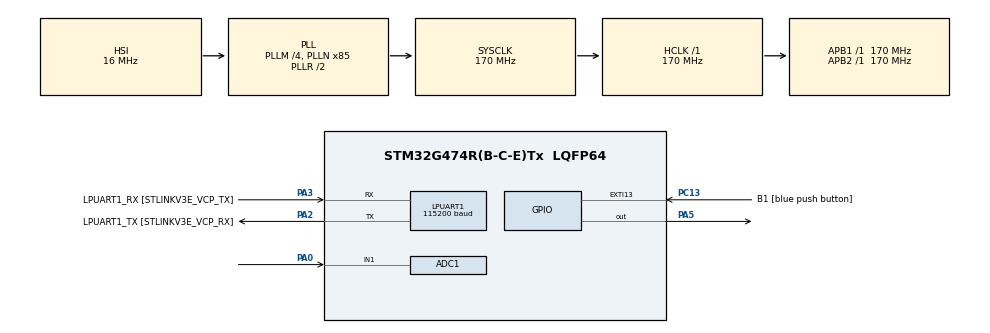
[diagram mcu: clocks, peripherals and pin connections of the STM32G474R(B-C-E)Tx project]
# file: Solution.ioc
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ADC1.Channel-1\#ChannelRegularConversion=ADC_CHANNEL_1
ADC1.NbrOfConversionFlag=1
ADC1.OffsetNumber-1\#ChannelRegularConversion=ADC_OFFSET_NONE
ADC1.Rank-1\#ChannelRegularConversion=1
ADC1.SamplingTime-1\#ChannelRegularConversion=ADC_SAMPLETIME_2CYCLES_5
ADC1.master=1
LPUART1.BaudRate=115200
LPUART1.WordLength=UART_WORDLENGTH_8B
Mcu.Family=STM32G4
Mcu.Name=STM32G474R(B-C-E)Tx
Mcu.Package=LQFP64
NVIC.EXTI15_10_IRQn=true\:0\:0\:false\:false\:true\:true\:true\:true
NVIC.PriorityGroup=NVIC_PRIORITYGROUP_4
NVIC.TIM2_IRQn=true\:0\:0\:false\:false\:true\:true\:true\:true
PA0.Mode=IN1-Single-Ended
PA0.Signal=ADC1_IN1
PA13.GPIO_Label=T_SWDIO
PA13.Mode=Serial_Wire
PA13.Signal=SYS_JTMS-SWDIO
PA14.GPIO_Label=T_SWCLK
PA14.Mode=Serial_Wire
PA14.Signal=SYS_JTCK-SWCLK
PA2.GPIO_Label=LPUART1_TX [STLINKV3E_VCP_RX]
PA2.Mode=Asynchronous
PA2.Signal=LPUART1_TX
PA3.GPIO_Label=LPUART1_RX [STLINKV3E_VCP_TX]
PA3.Mode=Asynchronous
PA3.Signal=LPUART1_RX
PA5.Signal=GPIO_Output
PB3.GPIO_Label=T_SWO
PB3.Signal=SYS_JTDO-SWO
PC13.GPIO_Label=B1 [blue push button]
PC13.Signal=GPXTI13
PC14-OSC32_IN.Mode=LSE-External-Oscillator
PC14-OSC32_IN.Signal=RCC_OSC32_IN
PC15-OSC32_OUT.Mode=LSE-External-Oscillator
PC15-OSC32_OUT.Signal=RCC_OSC32_OUT
PF0-OSC_IN.Mode=HSE-External-Oscillator
PF0-OSC_IN.Signal=RCC_OSC_IN
PF1-OSC_OUT.Mode=HSE-External-Oscillator
PF1-OSC_OUT.Signal=RCC_OSC_OUT
ProjectManager.HeapSize=0x200
ProjectManager.StackSize=0x400
ProjectManager.TargetToolchain=Makefile
RCC.ADC12Freq_Value=170000000
RCC.ADC345Freq_Value=170000000
RCC.AHBFreq_Value=170000000
RCC.APB1Freq_Value=170000000
RCC.APB1TimFreq_Value=170000000
RCC.APB2Freq_Value=170000000
RCC.APB2TimFreq_Value=170000000
RCC.CortexFreq_Value=170000000
RCC.EXTERNAL_CLOCK_VALUE=12288000
RCC.HCLKFreq_Value=170000000
RCC.HSE_VALUE=24000000
RCC.HSI48_VALUE=48000000
RCC.HSI_VALUE=16000000
RCC.PLLM=RCC_PLLM_DIV4
RCC.PLLN=85
RCC.RTCClockSelection=RCC_RTCCLKSOURCE_LSE
RCC.SYSCLKFreq_VALUE=170000000
RCC.SYSCLKSource=RCC_SYSCLKSOURCE_PLLCLK
RCC.USBFreq_Value=170000000
RCC.VCOOutputFreq_Value=340000000
TIM2.PeriodNoDither=200000
TIM2.Prescaler=170 - 1
VP_SYS_VS_DBSignals.Mode=DisableDeadBatterySignals
VP_TIM2_VS_ClockSourceINT.Mode=Internal
board=NUCLEO-G474RE

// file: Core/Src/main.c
/* USER CODE BEGIN Header */
/**
  ******************************************************************************
  * @file           : main.c
  * @brief          : Main program body
  ******************************************************************************
  * @attention
  *
  * Copyright (c) 2023 STMicroelectronics.
  * All rights reserved.
  *
  * This software is licensed under terms that can be found in the LICENSE file
  * in the root directory of this software component.
  * If no LICENSE file comes with this software, it is provided AS-IS.
  *
  ******************************************************************************
  */
/* USER CODE END Header */
#include "main.h"
#include "adc.h"
#include "usart.h"
#include "tim.h"
#include "gpio.h"

/* USER CODE BEGIN Includes */
#include <stdio.h>
#include <math.h>
#include <string.h>
/* USER CODE END Includes */

/* USER CODE BEGIN PV */
FlagStatus periodElapsed = RESET;
/* USER CODE END PV */

void SystemClock_Config(void);
/* USER CODE BEGIN PFP */
void convert_ms_to_hhmmssms(uint32_t* ms, uint32_t* hours, uint32_t* minutes, uint32_t* seconds);
void get_timestamp(char* timestamp);
void elapsed_tim2_callback(TIM_HandleTypeDef *htim);
/* USER CODE END PFP */

int main(void)
{

  /* MCU Configuration--------------------------------------------------------*/

  /* Reset of all peripherals, Initializes the Flash interface and the Systick. */
  HAL_Init();

  /* Configure the system clock */
  SystemClock_Config();

  /* Initialize all configured peripherals */
  MX_GPIO_Init();
  MX_LPUART1_UART_Init();
  MX_ADC1_Init();
  MX_TIM2_Init();
  /* USER CODE BEGIN 2 */
  HAL_ADCEx_Calibration_Start(&hadc1, ADC_SINGLE_ENDED);
  HAL_TIM_RegisterCallback(&htim2, HAL_TIM_PERIOD_ELAPSED_CB_ID, elapsed_tim2_callback);
  HAL_TIM_Base_Start_IT(&htim2);
  /* USER CODE END 2 */

  /* Infinite loop */
  while (1)
  {

  }
}

void SystemClock_Config(void)
{
  RCC_OscInitTypeDef RCC_OscInitStruct = {0};
  RCC_ClkInitTypeDef RCC_ClkInitStruct = {0};

  /** Configure the main internal regulator output voltage
  */
  HAL_PWREx_ControlVoltageScaling(PWR_REGULATOR_VOLTAGE_SCALE1_BOOST);

  /** Initializes the RCC Oscillators according to the specified parameters
  * in the RCC_OscInitTypeDef structure.
  */
  RCC_OscInitStruct.OscillatorType = RCC_OSCILLATORTYPE_HSI;
  RCC_OscInitStruct.HSIState = RCC_HSI_ON;
  RCC_OscInitStruct.HSICalibrationValue = RCC_HSICALIBRATION_DEFAULT;
  RCC_OscInitStruct.PLL.PLLState = RCC_PLL_ON;
  RCC_OscInitStruct.PLL.PLLSource = RCC_PLLSOURCE_HSI;
  RCC_OscInitStruct.PLL.PLLM = RCC_PLLM_DIV4;
  RCC_OscInitStruct.PLL.PLLN = 85;
  RCC_OscInitStruct.PLL.PLLP = RCC_PLLP_DIV2;
  RCC_OscInitStruct.PLL.PLLQ = RCC_PLLQ_DIV2;
  RCC_OscInitStruct.PLL.PLLR = RCC_PLLR_DIV2;
  if (HAL_RCC_OscConfig(&RCC_OscInitStruct) != HAL_OK)
  {
    Error_Handler();
  }

  /** Initializes the CPU, AHB and APB buses clocks
  */
  RCC_ClkInitStruct.ClockType = RCC_CLOCKTYPE_HCLK|RCC_CLOCKTYPE_SYSCLK
                              |RCC_CLOCKTYPE_PCLK1|RCC_CLOCKTYPE_PCLK2;
  RCC_ClkInitStruct.SYSCLKSource = RCC_SYSCLKSOURCE_PLLCLK;
  RCC_ClkInitStruct.AHBCLKDivider = RCC_SYSCLK_DIV1;
  RCC_ClkInitStruct.APB1CLKDivider = RCC_HCLK_DIV1;
  RCC_ClkInitStruct.APB2CLKDivider = RCC_HCLK_DIV1;

  if (HAL_RCC_ClockConfig(&RCC_ClkInitStruct, FLASH_LATENCY_4) != HAL_OK)
  {
    Error_Handler();
  }
}

/* USER CODE BEGIN 4 */
void convert_ms_to_hhmmssms(uint32_t* ms, uint32_t* hours, uint32_t* minutes, uint32_t* seconds)
{
  *seconds = *ms / 1000;
  *ms = *ms % 1000;

  *minutes = *seconds / 60;
  *seconds = *seconds % 60;

  *hours = *minutes / 60;
  *minutes = *minutes % 60;
}

void get_timestamp(char* timestamp)
{
  uint32_t h, m, s, ms;
  ms = HAL_GetTick();
  convert_ms_to_hhmmssms(&ms, &h, &m, &s);
  sprintf(timestamp, "%lu:%lu:%lu:%lu", h, m, s, ms);
}

void elapsed_tim2_callback(TIM_HandleTypeDef *htim)
{
  //ADC reading
  HAL_ADC_Start(&hadc1);
  HAL_ADC_PollForConversion(&hadc1, 100); //100ms
  uint32_t adc_value = HAL_ADC_GetValue(&hadc1);
  HAL_ADC_Stop(&hadc1);

  //voltage to Lux conversion
  float voltage = adc_value * (5.0 / 4095.0);
  int lux = 123.8957 + (65237400000 - 123.8957) / (1 + pow((voltage / 0.00003897886), 1.778511));

  //creating timestamp
  char timestamp[16];
  get_timestamp(timestamp);

  //sending result to UART
  char buffer[64];
  sprintf(buffer, "%s brightness: ~%dLux\n", timestamp, lux);
  HAL_UART_Transmit(&hlpuart1, (uint8_t*)buffer, strlen(buffer), 100); //100ms
}
/* USER CODE END 4 */

void Error_Handler(void)
{
  __disable_irq();
  while (1)
  {
  }
}
